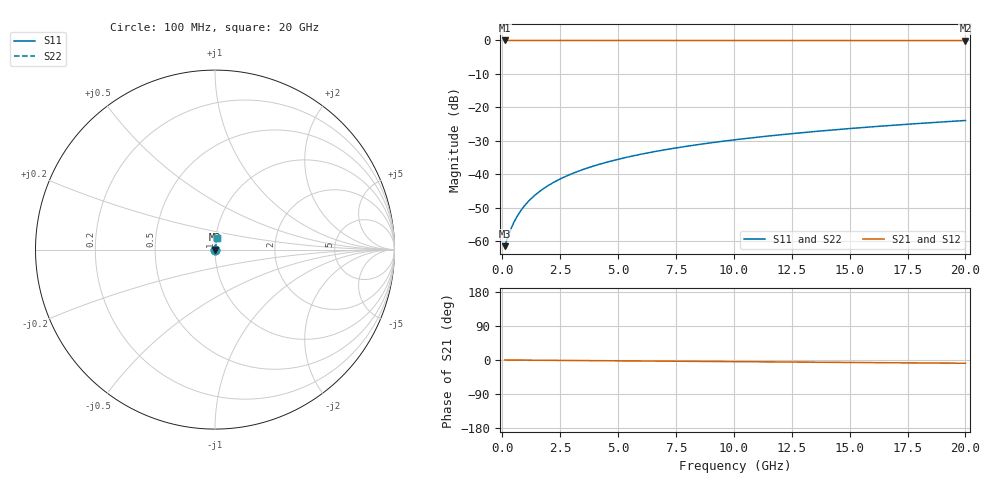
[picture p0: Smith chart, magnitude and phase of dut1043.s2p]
! Touchstone file exported from HFSS 2026.1.0
!  File:  C:/ffzhzh/LocalFiles/Ansys_Project_Files/temp_train_TSV_1043_1783189324_22436.aedt
!  Generated:  02:24:01 AM Jul  5, 2026
!  Design:  TSV
!  Project:  temp_train_TSV_1043_1783189324_22436
! Variables:
!  h_bsmrdl = 2um
!  h_ox = 20um
!  h_rdl = 5um
!  h_sub = 80.33um
!  h_tmrdl = 5um
!  h_tsv = 80.33um
!  h_via = 3um
!  l_bsmrdl = 300um
!  l_sub = 407.02um
!  l_tmrdl = 200um
!  m_sub = 200um
!  pitch = 28.53um
!  r_tsv = 3.51um
!  s_tmrdl = 10um
!  w_bsmrdl = 18um
!  w_sub = 500um
!  w_tmrdl = 12um
!  x_tsv_center1 = 206um
!  x_tsv_center2 = 524um
!  x_tsv_center3 = 736um
!  x_tsv_center4 = 1054um
!  x_tsv_center5 = 1266um
!  x_tsv_center6 = 1584um
# GHz S MA R 50.000000
! Terminal data exported
! Port[1] = TSV1_1_T1
! Port[2] = TSV1_1_T2
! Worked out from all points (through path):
!   200 points, 100 MHz to 20 GHz, reference 50 ohm
!   highest |S21| = -0.01 dB at 100 MHz (marker M1); lowest = 0.0 dB at 20 GHz (marker M2)
!   group delay of S21, straight-line fit = 1.19 ps
!   lowest |S11| = -61.4 dB at 100 MHz (marker M3), VSWR 1.00, Z = 50.1 + j0.0358 ohm
!   |S11| at or under -10 dB: start of sweep to end of sweep
!   |S22| runs from -61.4 to -23.9 dB; largest |S21 - S12| = 3.3e-15
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0.1  0.0008515 24.8  0.9992 -0.0  0.9992 -0.0  0.0008515 24.8
! Gamma 0 0 0 0
! Port Impedance 50 0 50 0
0.3  0.001324 52.9  0.9992 -0.1  0.9992 -0.1  0.001324 52.9
0.4  0.001617 59.9  0.9992 -0.2  0.9992 -0.2  0.001617 59.9
0.5  0.001924 64.7  0.9992 -0.2  0.9992 -0.2  0.001924 64.7
0.6  0.00224 68.1  0.9992 -0.3  0.9992 -0.3  0.00224 68.1
0.7  0.002561 70.7  0.9992 -0.3  0.9992 -0.3  0.002561 70.7
0.9  0.003215 74.3  0.9991 -0.4  0.9991 -0.4  0.003215 74.3
1.2  0.004211 77.6  0.9991 -0.5  0.9991 -0.5  0.004211 77.6
1.4  0.00488 78.9  0.9991 -0.6  0.9991 -0.6  0.00488 78.9
1.7  0.005887 80.3  0.9991 -0.8  0.9991 -0.8  0.005887 80.3
2.2  0.007567 81.7  0.999 -1.0  0.999 -1.0  0.007567 81.7
2.8  0.009577 82.5  0.9989 -1.2  0.9989 -1.2  0.009577 82.5
3.5  0.01191 83.0  0.9988 -1.5  0.9988 -1.5  0.01191 83.0
4.2  0.01422 83.1  0.9986 -1.8  0.9986 -1.8  0.01422 83.1
5  0.01684 83.1  0.9985 -2.2  0.9985 -2.2  0.01684 83.1
5.9  0.01976 83.0  0.9983 -2.6  0.9983 -2.6  0.01976 83.0
6.8  0.02266 82.8  0.9981 -3.0  0.9981 -3.0  0.02266 82.8
8.3  0.02744 82.5  0.9977 -3.6  0.9977 -3.6  0.02744 82.5
10.1  0.03312 82.0  0.9974 -4.4  0.9974 -4.4  0.03312 82.0
13.4  0.04345 81.0  0.9966 -5.8  0.9966 -5.8  0.04345 81.0
16.7  0.0537 79.9  0.9958 -7.2  0.9958 -7.2  0.0537 79.9
20  0.06388 78.7  0.995 -8.6  0.995 -8.6  0.06388 78.7
